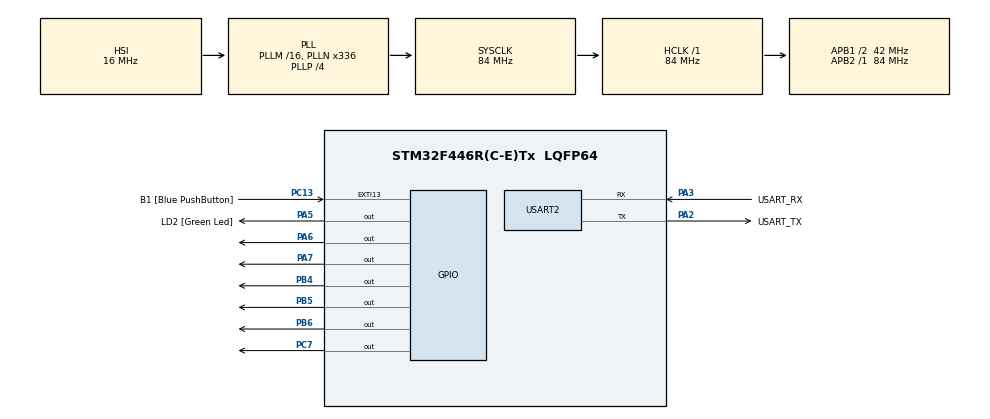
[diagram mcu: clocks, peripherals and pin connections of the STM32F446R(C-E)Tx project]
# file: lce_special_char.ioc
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Mcu.Family=STM32F4
Mcu.Name=STM32F446R(C-E)Tx
Mcu.Package=LQFP64
NVIC.PriorityGroup=NVIC_PRIORITYGROUP_0
PA13.GPIO_Label=TMS
PA13.Mode=Serial_Wire
PA13.Signal=SYS_JTMS-SWDIO
PA14.GPIO_Label=TCK
PA14.Mode=Serial_Wire
PA14.Signal=SYS_JTCK-SWCLK
PA2.GPIO_Label=USART_TX
PA2.Mode=Asynchronous
PA2.Signal=USART2_TX
PA3.GPIO_Label=USART_RX
PA3.Mode=Asynchronous
PA3.Signal=USART2_RX
PA5.GPIO_Label=LD2 [Green Led]
PA5.Signal=GPIO_Output
PA6.Signal=GPIO_Output
PA7.Signal=GPIO_Output
PB3.GPIO_Label=SWO
PB3.Signal=SYS_JTDO-SWO
PB4.Signal=GPIO_Output
PB5.Signal=GPIO_Output
PB6.Signal=GPIO_Output
PC13.GPIO_Label=B1 [Blue PushButton]
PC13.GPIO_ModeDefaultEXTI=GPIO_MODE_IT_FALLING
PC13.Signal=GPXTI13
PC14-OSC32_IN.Mode=LSE-External-Oscillator
PC14-OSC32_IN.Signal=RCC_OSC32_IN
PC15-OSC32_OUT.Mode=LSE-External-Oscillator
PC15-OSC32_OUT.Signal=RCC_OSC32_OUT
PC7.Signal=GPIO_Output
PH0-OSC_IN.Mode=HSE-External-Oscillator
PH0-OSC_IN.Signal=RCC_OSC_IN
PH1-OSC_OUT.Mode=HSE-External-Oscillator
PH1-OSC_OUT.Signal=RCC_OSC_OUT
ProjectManager.HeapSize=0x200
ProjectManager.StackSize=0x400
ProjectManager.TargetToolchain=STM32CubeIDE
RCC.48MHZClocksFreq_Value=84000000
RCC.AHBFreq_Value=84000000
RCC.APB1CLKDivider=RCC_HCLK_DIV2
RCC.APB1Freq_Value=42000000
RCC.APB1TimFreq_Value=84000000
RCC.APB2Freq_Value=84000000
RCC.APB2TimFreq_Value=84000000
RCC.CortexFreq_Value=84000000
RCC.FLatency-AdvancedSettings=FLASH_LATENCY_2
RCC.HCLKFreq_Value=84000000
RCC.HSE_VALUE=8000000
RCC.HSI_VALUE=16000000
RCC.PLLN=336
RCC.PLLP=RCC_PLLP_DIV4
RCC.SYSCLKFreq_VALUE=84000000
RCC.SYSCLKSource=RCC_SYSCLKSOURCE_PLLCLK
RCC.USBFreq_Value=168000000
RCC.VCOOutputFreq_Value=336000000
USART2.VirtualMode=VM_ASYNC
board=NUCLEO-F446RE

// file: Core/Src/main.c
/* USER CODE BEGIN Header */
/**
  ******************************************************************************
  * @file           : main.c
  * @brief          : Main program body
  ******************************************************************************
  * @attention
  *
  * Copyright (c) 2024 STMicroelectronics.
  * All rights reserved.
  *
  * This software is licensed under terms that can be found in the LICENSE file
  * in the root directory of this software component.
  * If no LICENSE file comes with this software, it is provided AS-IS.
  *
  ******************************************************************************
  */
/* USER CODE END Header */
#include "main.h"

/* USER CODE BEGIN Includes */
#include "lcd.h"
/* USER CODE END Includes */

UART_HandleTypeDef huart2;

void SystemClock_Config(void);
static void MX_GPIO_Init(void);
static void MX_USART2_UART_Init(void);

/* USER CODE BEGIN 0 */
// Define custom characters
const uint8_t custom_chars[8][8] = {
    {0x00, 0x0A, 0x0A, 0x1F, 0x1F, 0x1F, 0x00, 0x00}, // Custom Char 1
    {0x1F, 0x1F, 0x00, 0x00, 0x1F, 0x1F, 0x00, 0x00}, // Custom Char 2
    // Add more characters as needed
};

/* USER CODE END 0 */

int main(void)
{

  /* MCU Configuration--------------------------------------------------------*/

  /* Reset of all peripherals, Initializes the Flash interface and the Systick. */
  HAL_Init();

  /* Configure the system clock */
  SystemClock_Config();

  /* Initialize all configured peripherals */
  MX_GPIO_Init();
  MX_USART2_UART_Init();
  /* USER CODE BEGIN 2 */
  Lcd_PortType ports[] = { GPIOC, GPIOB, GPIOA, GPIOA };
  Lcd_PinType pins[] = { GPIO_PIN_7, GPIO_PIN_6, GPIO_PIN_7, GPIO_PIN_6 };
  Lcd_HandleTypeDef lcd;
  lcd = Lcd_create(ports, pins, GPIOB, GPIO_PIN_5, GPIOB, GPIO_PIN_4, LCD_4_BIT_MODE);
  Lcd_cursor(&lcd, 0, 1);
  Lcd_string(&lcd, "*&");

  for (int x = 1; x <= 200; x++)
  {
      Lcd_cursor(&lcd, 1, 7);
      Lcd_int(&lcd, x);
      HAL_Delay(1000);
  }
  /* USER CODE END 2 */

  /* Infinite loop */
  while (1)
  {

  }
}

void SystemClock_Config(void)
{
  RCC_OscInitTypeDef RCC_OscInitStruct = {0};
  RCC_ClkInitTypeDef RCC_ClkInitStruct = {0};

  /** Configure the main internal regulator output voltage
  */
  __HAL_RCC_PWR_CLK_ENABLE();
  __HAL_PWR_VOLTAGESCALING_CONFIG(PWR_REGULATOR_VOLTAGE_SCALE3);

  /** Initializes the RCC Oscillators according to the specified parameters
  * in the RCC_OscInitTypeDef structure.
  */
  RCC_OscInitStruct.OscillatorType = RCC_OSCILLATORTYPE_HSI;
  RCC_OscInitStruct.HSIState = RCC_HSI_ON;
  RCC_OscInitStruct.HSICalibrationValue = RCC_HSICALIBRATION_DEFAULT;
  RCC_OscInitStruct.PLL.PLLState = RCC_PLL_ON;
  RCC_OscInitStruct.PLL.PLLSource = RCC_PLLSOURCE_HSI;
  RCC_OscInitStruct.PLL.PLLM = 16;
  RCC_OscInitStruct.PLL.PLLN = 336;
  RCC_OscInitStruct.PLL.PLLP = RCC_PLLP_DIV4;
  RCC_OscInitStruct.PLL.PLLQ = 2;
  RCC_OscInitStruct.PLL.PLLR = 2;
  if (HAL_RCC_OscConfig(&RCC_OscInitStruct) != HAL_OK)
  {
    Error_Handler();
  }

  /** Initializes the CPU, AHB and APB buses clocks
  */
  RCC_ClkInitStruct.ClockType = RCC_CLOCKTYPE_HCLK|RCC_CLOCKTYPE_SYSCLK
                              |RCC_CLOCKTYPE_PCLK1|RCC_CLOCKTYPE_PCLK2;
  RCC_ClkInitStruct.SYSCLKSource = RCC_SYSCLKSOURCE_PLLCLK;
  RCC_ClkInitStruct.AHBCLKDivider = RCC_SYSCLK_DIV1;
  RCC_ClkInitStruct.APB1CLKDivider = RCC_HCLK_DIV2;
  RCC_ClkInitStruct.APB2CLKDivider = RCC_HCLK_DIV1;

  if (HAL_RCC_ClockConfig(&RCC_ClkInitStruct, FLASH_LATENCY_2) != HAL_OK)
  {
    Error_Handler();
  }
}

static void MX_USART2_UART_Init(void)
{

  huart2.Instance = USART2;
  huart2.Init.BaudRate = 115200;
  huart2.Init.WordLength = UART_WORDLENGTH_8B;
  huart2.Init.StopBits = UART_STOPBITS_1;
  huart2.Init.Parity = UART_PARITY_NONE;
  huart2.Init.Mode = UART_MODE_TX_RX;
  huart2.Init.HwFlowCtl = UART_HWCONTROL_NONE;
  huart2.Init.OverSampling = UART_OVERSAMPLING_16;
  if (HAL_UART_Init(&huart2) != HAL_OK)
  {
    Error_Handler();
  }

}

static void MX_GPIO_Init(void)
{
  GPIO_InitTypeDef GPIO_InitStruct = {0};

  /* GPIO Ports Clock Enable */
  __HAL_RCC_GPIOC_CLK_ENABLE();
  __HAL_RCC_GPIOH_CLK_ENABLE();
  __HAL_RCC_GPIOA_CLK_ENABLE();
  __HAL_RCC_GPIOB_CLK_ENABLE();

  /*Configure GPIO pin Output Level */
  HAL_GPIO_WritePin(GPIOA, LD2_Pin|GPIO_PIN_6|GPIO_PIN_7, GPIO_PIN_RESET);

  /*Configure GPIO pin Output Level */
  HAL_GPIO_WritePin(GPIOC, GPIO_PIN_7, GPIO_PIN_RESET);

  /*Configure GPIO pin Output Level */
  HAL_GPIO_WritePin(GPIOB, GPIO_PIN_4|GPIO_PIN_5|GPIO_PIN_6, GPIO_PIN_RESET);

  /*Configure GPIO pin : B1_Pin */
  GPIO_InitStruct.Pin = B1_Pin;
  GPIO_InitStruct.Mode = GPIO_MODE_IT_FALLING;
  GPIO_InitStruct.Pull = GPIO_NOPULL;
  HAL_GPIO_Init(B1_GPIO_Port, &GPIO_InitStruct);

  /*Configure GPIO pins : LD2_Pin PA6 PA7 */
  GPIO_InitStruct.Pin = LD2_Pin|GPIO_PIN_6|GPIO_PIN_7;
  GPIO_InitStruct.Mode = GPIO_MODE_OUTPUT_PP;
  GPIO_InitStruct.Pull = GPIO_NOPULL;
  GPIO_InitStruct.Speed = GPIO_SPEED_FREQ_LOW;
  HAL_GPIO_Init(GPIOA, &GPIO_InitStruct);

  /*Configure GPIO pin : PC7 */
  GPIO_InitStruct.Pin = GPIO_PIN_7;
  GPIO_InitStruct.Mode = GPIO_MODE_OUTPUT_PP;
  GPIO_InitStruct.Pull = GPIO_NOPULL;
  GPIO_InitStruct.Speed = GPIO_SPEED_FREQ_LOW;
  HAL_GPIO_Init(GPIOC, &GPIO_InitStruct);

  /*Configure GPIO pins : PB4 PB5 PB6 */
  GPIO_InitStruct.Pin = GPIO_PIN_4|GPIO_PIN_5|GPIO_PIN_6;
  GPIO_InitStruct.Mode = GPIO_MODE_OUTPUT_PP;
  GPIO_InitStruct.Pull = GPIO_NOPULL;
  GPIO_InitStruct.Speed = GPIO_SPEED_FREQ_LOW;
  HAL_GPIO_Init(GPIOB, &GPIO_InitStruct);

}

void Error_Handler(void)
{
  __disable_irq();
  while (1)
  {
  }
}
